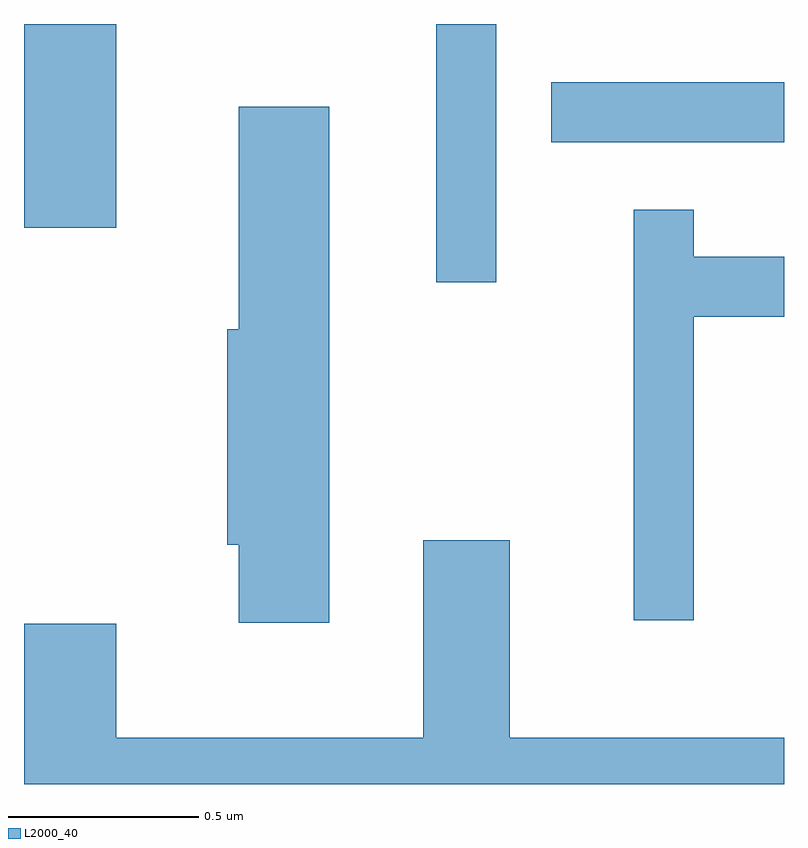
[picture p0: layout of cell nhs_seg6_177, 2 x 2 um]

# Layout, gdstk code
import gdstk
lib = gdstk.Library(unit=1e-6, precision=1e-09)
def R(c, l, rs):  # rectangles x0, y0, x1, y1
    for r in rs: c.add(gdstk.rectangle(r[:2], r[2:], *l))
def P(c, l, *ps):  # polygons
    for p in ps: c.add(gdstk.Polygon(p, *l))
L2000_40 = (2000, 40)

nhs_seg6_177 = lib.new_cell('nhs_seg6_177')
R(nhs_seg6_177, L2000_40, [(187.696,1571.483,187.854,1572.162), (186.611,1571.626,186.854,1572.162), (187.998,1571.851,188.611,1572.009)])
P(nhs_seg6_177, L2000_40, [(187.414,1571.944),(187.176,1571.944),(187.176,1571.359),(187.146,1571.359),(187.146,1570.791),(187.176,1570.791),(187.176,1570.586),(187.414,1570.586)],
  [(188.374,1571.391),(188.611,1571.391),(188.611,1571.549),(188.374,1571.549),(188.374,1571.673),(188.216,1571.673),(188.216,1570.593),(188.374,1570.593)],
  [(188.611,1570.284),(187.889,1570.284),(187.889,1570.804),(187.661,1570.804),(187.661,1570.284),(186.854,1570.284),(186.854,1570.584),(186.611,1570.584),(186.611,1570.162),(188.611,1570.162)])

lib.write_gds('nhs_seg6_177.gds')
